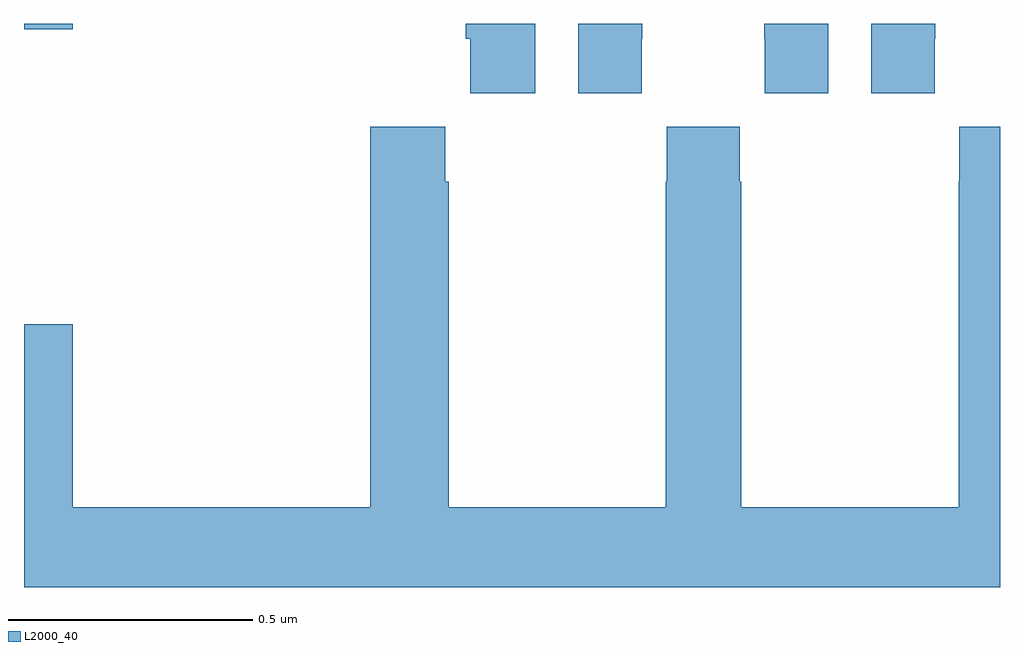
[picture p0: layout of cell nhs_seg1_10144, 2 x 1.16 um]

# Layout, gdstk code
import gdstk
lib = gdstk.Library(unit=1e-6, precision=1e-09)
def R(c, l, rs):  # rectangles x0, y0, x1, y1
    for r in rs: c.add(gdstk.rectangle(r[:2], r[2:], *l))
def P(c, l, *ps):  # polygons
    for p in ps: c.add(gdstk.Polygon(p, *l))
L2000_40 = (2000, 40)

nhs_seg1_10144 = lib.new_cell('nhs_seg1_10144')
R(nhs_seg1_10144, L2000_40, [(237,574.188,237.1,574.199)])
P(nhs_seg1_10144, L2000_40, [(238.648,574.199),(238.517,574.199),(238.517,574.168),(238.518,574.168),(238.518,574.056),(238.648,574.056)],
  [(238.866,574.168),(238.867,574.168),(238.867,574.199),(238.736,574.199),(238.736,574.056),(238.866,574.056)],
  [(238.048,574.199),(237.905,574.199),(237.905,574.168),(237.914,574.168),(237.914,574.056),(238.048,574.056)],
  [(238.266,574.168),(238.267,574.168),(238.267,574.199),(238.136,574.199),(238.136,574.056),(238.266,574.056)],
  [(239,573.988),(238.917,573.988),(238.917,573.875),(238.915,573.875),(238.915,573.208),(238.47,573.208),(238.47,573.875),(238.467,573.875),(238.467,573.988),(238.317,573.988),(238.317,573.875),(238.315,573.875),(238.315,573.208),(237.87,573.208),(237.87,573.875),(237.863,573.875),(237.863,573.988),(237.71,573.988),(237.71,573.208),(237.1,573.208),(237.1,573.583),(237,573.583),(237,573.044),(239,573.044)])

lib.write_gds('nhs_seg1_10144.gds')
